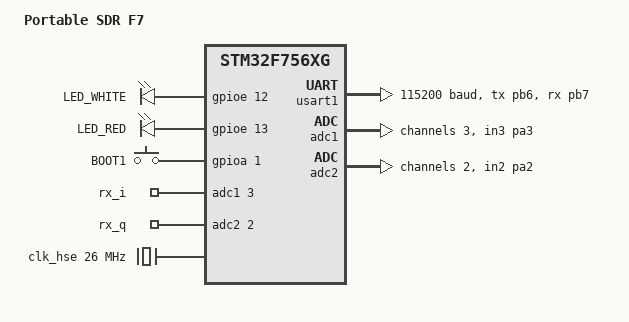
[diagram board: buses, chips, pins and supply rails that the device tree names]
/*
 * Portable SDR F7 — Michael R. Colton design, STM32F756VGTx, LQFP100.
 * HSE 26 MHz on PH0/PH1, PLL → SYSCLK 216 MHz.
 *
 * Pin labels follow the original Hardware/STM32F756_Config.ioc.
 * Phase 1 brings up: console UART + status LEDs. Display, ADC, DAC,
 * I2C, SPI, timers all come later.
 */

/dts-v1/;
#include <st/f7/stm32f756Xg.dtsi>
#include <st/f7/stm32f756vgtx-pinctrl.dtsi>
#include <zephyr/dt-bindings/adc/adc.h>
#include <zephyr/dt-bindings/input/input-event-codes.h>

/ {
	model = "Portable SDR F7";
	compatible = "psdr,psdr-f7";

	chosen {
		zephyr,console = &usart1;
		zephyr,shell-uart = &usart1;
		zephyr,sram = &sram0;
		zephyr,flash = &flash0;
		zephyr,dtcm = &dtcm;
	};

	leds: leds {
		compatible = "gpio-leds";

		white_led: led_white {
			gpios = <&gpioe 12 GPIO_ACTIVE_HIGH>;
			label = "LED_WHITE";
		};

		red_led: led_red {
			gpios = <&gpioe 13 GPIO_ACTIVE_HIGH>;
			label = "LED_RED";
		};
	};

	gpio_keys {
		compatible = "gpio-keys";

		boot1_pin: boot1 {
			gpios = <&gpioa 1 GPIO_ACTIVE_HIGH>;
			label = "BOOT1";
			zephyr,code = <INPUT_KEY_0>;
		};
	};

	aliases {
		led0 = &white_led;
		led1 = &red_led;
		sw0 = &boot1_pin;
	};

	/*
	 * App-facing handle on the RX I/Q channels. Refer to these via
	 * ADC_DT_SPEC_GET_BY_IDX(DT_PATH(zephyr_user), 0) for I and 1 for Q.
	 */
	zephyr,user {
		io-channels = <&adc1 3>, <&adc2 2>;
		io-channel-names = "rx_i", "rx_q";
	};
};

&clk_hse {
	clock-frequency = <DT_FREQ_M(26)>;
	status = "okay";
};

&pll {
	div-m = <13>;
	mul-n = <216>;
	div-p = <2>;
	div-q = <9>;
	clocks = <&clk_hse>;
	status = "okay";
};

&rcc {
	clocks = <&pll>;
	clock-frequency = <DT_FREQ_M(216)>;
	ahb-prescaler = <1>;
	apb1-prescaler = <4>;
	apb2-prescaler = <2>;
};

&usart1 {
	pinctrl-0 = <&usart1_tx_pb6 &usart1_rx_pb7>;
	pinctrl-names = "default";
	current-speed = <115200>;
	status = "okay";
};

/*
 * RX I/Q: Tayloe detector outputs land on PA3 (I) and PA2 (Q).
 * Hardware-correct mapping is ADC1_IN3 + ADC2_IN2. The original
 * firmware used ADC3 for Q which is a silent bug — PA2 is not
 * routed to ADC3 on the F756.
 */
&adc1 {
	pinctrl-0 = <&adc1_in3_pa3>;
	pinctrl-names = "default";
	st,adc-prescaler = <4>;
	status = "okay";
	#address-cells = <1>;
	#size-cells = <0>;

	channel@3 {
		reg = <3>;
		zephyr,gain = "ADC_GAIN_1";
		zephyr,reference = "ADC_REF_INTERNAL";
		zephyr,acquisition-time = <ADC_ACQ_TIME(ADC_ACQ_TIME_TICKS, 15)>;
		zephyr,resolution = <12>;
	};
};

&adc2 {
	pinctrl-0 = <&adc2_in2_pa2>;
	pinctrl-names = "default";
	st,adc-prescaler = <4>;
	status = "okay";
	#address-cells = <1>;
	#size-cells = <0>;

	channel@2 {
		reg = <2>;
		zephyr,gain = "ADC_GAIN_1";
		zephyr,reference = "ADC_REF_INTERNAL";
		zephyr,acquisition-time = <ADC_ACQ_TIME(ADC_ACQ_TIME_TICKS, 15)>;
		zephyr,resolution = <12>;
	};
};
